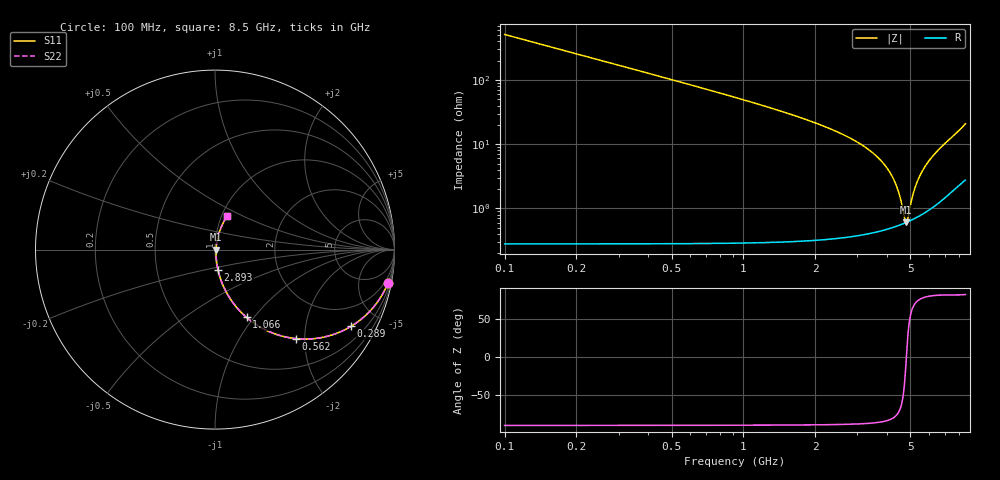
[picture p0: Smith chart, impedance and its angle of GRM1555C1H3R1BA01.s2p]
!Murata Part Number: GRM1555C1H3R1BA01
!These Parameters are Measured in Series Mode Connection
!Data Generated on Mar 30, 2021
!  o--ll--o
!Port1  Port2
!  o------o
!Operation Temp=25[degC], DC Bias Voltage=0[V]
!Freq. Start=100[MHz] Stop=9[GHz] 401[Steps]
# Hz S RI R 50
!Freq.(Hz) S11(Real) S11(Imag) S21(Real) S21(Imag) S12(Real) S12(Imag) S22(Real) S22(Imag)
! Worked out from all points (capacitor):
!   401 points, 100 MHz to 8.5 GHz, reference 50 ohm
!   read as one part in series: C = 3.1 pF near 142 MHz
!   lowest |Z| = 606 mohm at 4.804 GHz (marker M1)
!   series resonance near 4.811 GHz, so ESL is about 350 pH
!   S11 on the Smith chart (normalised r, x): 100 MHz: 1, -10; 289 MHz: 1.01, -3.54; 562 MHz: 1.01, -1.80; 1.066 GHz: 1.01, -0.92; 2.893 GHz: 1.01, -0.23; 8.5 GHz: 1.06, +0.41
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1e8  0.9633 -0.1877  0.0367 0.1877  0.0367 0.1877  0.9633 -0.1877
2.05e8  0.8618 -0.3445  0.1382 0.3445  0.1382 0.3445  0.8618 -0.3445
2.89e8  0.7578 -0.4276  0.2422 0.4276  0.2422 0.4276  0.7578 -0.4276
4.15e8  0.6013 -0.4885  0.3987 0.4885  0.3987 0.4885  0.6013 -0.4885
5.62e8  0.4488 -0.4958  0.5512 0.4958  0.5512 0.4958  0.4488 -0.4958
7.93e8  0.2857 -0.4495  0.7143 0.4495  0.7143 0.4495  0.2857 -0.4495
1.066e9  0.176 -0.3776  0.824 0.3776  0.824 0.3776  0.176 -0.3776
1.507e9  0.0897 -0.2809  0.9103 0.2809  0.9103 0.2809  0.0897 -0.2809
2.893e9  0.0169 -0.1141  0.9831 0.1141  0.9831 0.1141  0.0169 -0.1141
2.914e9  0.0165 -0.1124  0.9835 0.1124  0.9835 0.1124  0.0165 -0.1124
3.754e9  0.00753 -0.0555  0.9925 0.0555  0.9925 0.0555  0.00753 -0.0555
4.3e9  0.00579 -0.0254  0.9942 0.0254  0.9942 0.0254  0.00579 -0.0254
4.489e9  0.00569 -0.0157  0.9943 0.0157  0.9943 0.0157  0.00569 -0.0157
4.741e9  0.0059 -0.00335  0.9941 0.00335  0.9941 0.00335  0.0059 -0.00335
4.804e9  0.00601 -0.000322  0.994 0.000322  0.994 0.000322  0.00601 -0.000322
4.867e9  0.00615 0.00268  0.9939 -0.00268  0.9939 -0.00268  0.00615 0.00268
5.056e9  0.00668 0.0115  0.9933 -0.0115  0.9933 -0.0115  0.00668 0.0115
5.224e9  0.00733 0.0193  0.9927 -0.0193  0.9927 -0.0193  0.00733 0.0193
5.707e9  0.01 0.041  0.99 -0.041  0.99 -0.041  0.01 0.041
6.295e9  0.0152 0.067  0.9848 -0.067  0.9848 -0.067  0.0152 0.067
7.114e9  0.0265 0.1044  0.9735 -0.1044  0.9735 -0.1044  0.0265 0.1044
8.5e9  0.0649 0.1885  0.9351 -0.1885  0.9351 -0.1885  0.0649 0.1885
